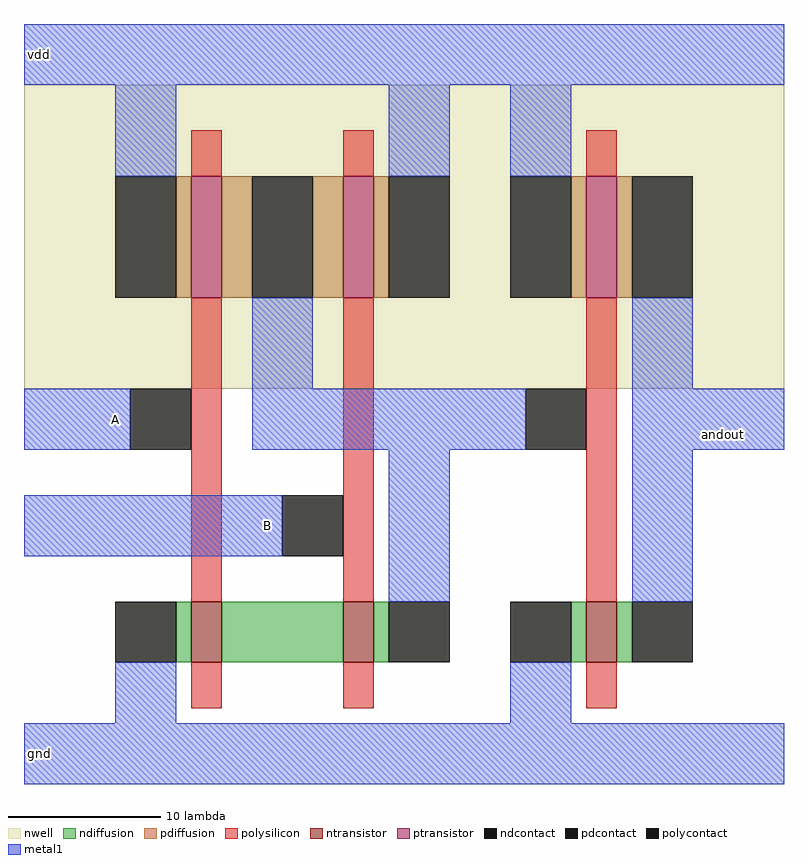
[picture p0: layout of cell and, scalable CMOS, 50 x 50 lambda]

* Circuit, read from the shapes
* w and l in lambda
.subckt and A B andout gnd vdd
M1 n1 A gnd VSUBS nfet w=4 l=2
M2 n2 B n1 VSUBS nfet w=4 l=2
M3 andout n2 gnd VSUBS nfet w=4 l=2
M4 n2 A vdd n3 pfet w=8 l=2
M5 vdd B n2 n3 pfet w=8 l=2
M6 andout n2 vdd n3 pfet w=8 l=2
.ends

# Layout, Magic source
magic
tech scmos
<< nwell >>
rect 0 3 50 23
<< ntransistor >>
rect 11 -15 13 -11
rect 21 -15 23 -11
rect 37 -15 39 -11
<< ptransistor >>
rect 11 9 13 17
rect 21 9 23 17
rect 37 9 39 17
<< ndiffusion >>
rect 10 -15 11 -11
rect 13 -15 21 -11
rect 23 -15 24 -11
rect 36 -15 37 -11
rect 39 -15 40 -11
<< pdiffusion >>
rect 10 9 11 17
rect 13 9 15 17
rect 19 9 21 17
rect 23 9 24 17
rect 36 9 37 17
rect 39 9 40 17
<< ndcontact >>
rect 6 -15 10 -11
rect 24 -15 28 -11
rect 32 -15 36 -11
rect 40 -15 44 -11
<< pdcontact >>
rect 6 9 10 17
rect 15 9 19 17
rect 24 9 28 17
rect 32 9 36 17
rect 40 9 44 17
<< polysilicon >>
rect 11 17 13 20
rect 21 17 23 20
rect 37 17 39 20
rect 11 -11 13 9
rect 21 -11 23 9
rect 37 -11 39 9
rect 11 -18 13 -15
rect 21 -18 23 -15
rect 37 -18 39 -15
<< polycontact >>
rect 7 -1 11 3
rect 17 -8 21 -4
rect 33 -1 37 3
<< metal1 >>
rect 0 23 50 27
rect 6 17 10 23
rect 24 17 28 23
rect 32 17 36 23
rect 15 3 19 9
rect 40 3 44 9
rect 0 -1 7 3
rect 15 -1 33 3
rect 40 -1 50 3
rect 0 -8 17 -4
rect 24 -11 28 -1
rect 40 -11 44 -1
rect 6 -19 10 -15
rect 32 -19 36 -15
rect 0 -23 50 -19
<< labels >>
rlabel metal1 1 25 1 25 4 vdd
rlabel metal1 16 -6 16 -6 1 B
rlabel metal1 6 1 6 1 1 A
rlabel metal1 1 -21 1 -21 2 gnd
rlabel metal1 46 0 46 0 7 andout
<< end >>
